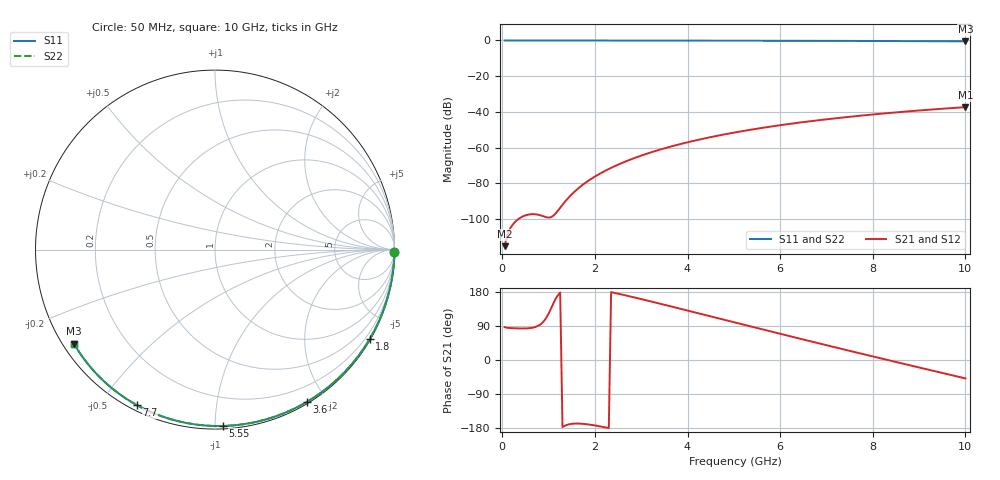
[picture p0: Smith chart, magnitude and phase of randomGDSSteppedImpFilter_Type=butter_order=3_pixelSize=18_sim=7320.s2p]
! freq	dB(S11)	phase(S11)	dB(S12)	phase(S12)
!  dB(S21)	phase(S21)	dB(S22)	phase(S22)
!S-par simulation data
#  GHz  S  DB  R 50
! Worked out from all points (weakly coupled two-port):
!   200 points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, 50 MHz to 10 GHz, reference 50 ohm
!   highest |S21| = -37.30 dB at 10 GHz (marker M1); lowest = -115.1 dB at 50 MHz (marker M2)
!   lowest |S11| = -0.5 dB at 10 GHz (marker M3), VSWR 35.09, Z = 1.56 - j15.1 ohm
!   |S11| at or under -10 dB: nowhere
!   |S22| runs from -0.5 to 0.0 dB; largest |S21 - S12| = 0
!   S11 on the Smith chart (normalised r, x): 50 MHz: open; 1.8 GHz: 0.03, -3.71; 3.6 GHz: 0.02, -1.78; 5.55 GHz: 0.02, -1.04; 7.7 GHz: 0.02, -0.62; 10 GHz: 0.03, -0.30
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0.05  -0.00 -0.9  -115.06 86.7  -115.06 86.7  -0.00 -0.9
0.45  -0.01 -7.7  -98.34 83.1  -98.34 83.1  -0.01 -7.7
0.9  -0.02 -15.2  -98.45 102.8  -98.45 102.8  -0.02 -15.2
1.3  -0.03 -21.9  -91.89 -177.0  -91.89 -177.0  -0.03 -21.9
1.75  -0.04 -29.3  -80.47 -168.6  -80.47 -168.6  -0.04 -29.3
1.8  -0.04 -30.1  -79.52 -169.2  -79.52 -169.2  -0.04 -30.1
1.95  -0.04 -32.6  -76.91 -171.7  -76.91 -171.7  -0.04 -32.6
2.1  -0.04 -35.0  -74.61 -174.8  -74.61 -174.8  -0.04 -35.0
2.3  -0.05 -38.3  -71.88 -179.7  -71.88 -179.7  -0.05 -38.3
2.5  -0.05 -41.5  -69.46 175.0  -69.46 175.0  -0.05 -41.5
2.9  -0.06 -47.9  -65.32 163.7  -65.32 163.7  -0.06 -47.9
3.4  -0.07 -55.7  -61.09 148.8  -61.09 148.8  -0.07 -55.7
3.6  -0.08 -58.8  -59.61 142.7  -59.61 142.7  -0.08 -58.8
4.3  -0.10 -69.4  -55.17 121.3  -55.17 121.3  -0.10 -69.4
5.05  -0.12 -80.4  -51.33 98.2  -51.33 98.2  -0.12 -80.4
5.55  -0.14 -87.5  -49.15 82.9  -49.15 82.9  -0.14 -87.5
6.1  -0.17 -95.2  -47.04 66.2  -47.04 66.2  -0.17 -95.2
6.7  -0.20 -103.4  -45.02 48.0  -45.02 48.0  -0.20 -103.4
7.7  -0.27 -116.7  -42.16 18.3  -42.16 18.3  -0.27 -116.6
8.35  -0.32 -125.1  -40.57 -0.8  -40.57 -0.8  -0.32 -125.1
9.2  -0.40 -136.1  -38.76 -25.5  -38.76 -25.5  -0.40 -136.1
10  -0.50 -146.4  -37.30 -48.6  -37.30 -48.6  -0.50 -146.3
